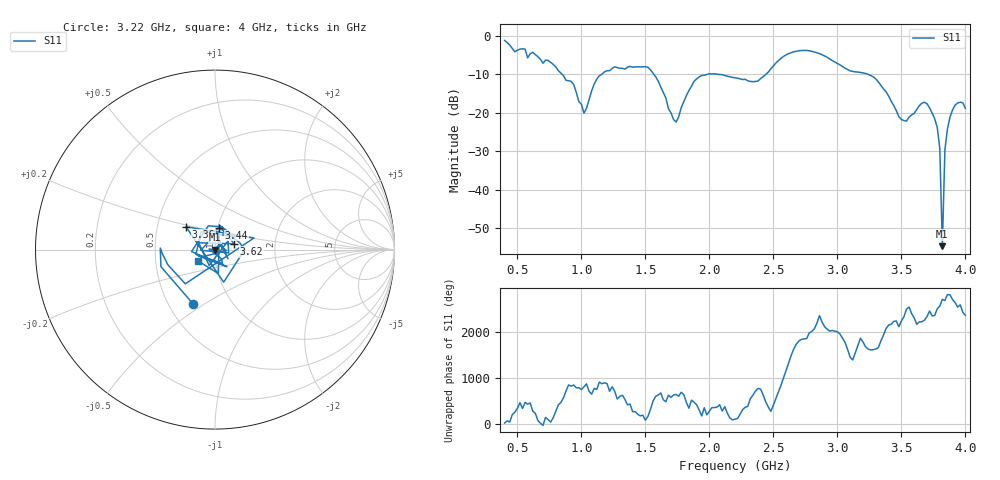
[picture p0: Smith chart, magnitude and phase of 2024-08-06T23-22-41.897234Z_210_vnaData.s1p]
!Created with skrf (http://scikit-rf.org).
# Hz S RI R 50.0
!freq ReS11 ImS11
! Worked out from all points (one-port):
!   181 points, 400 MHz to 4 GHz, reference 50 ohm
!   lowest |S11| = -54.6 dB at 3.82 GHz (marker M1), VSWR 1.00, Z = 49.8 - j0.0651 ohm
!   |S11| at or under -10 dB: 1.566 GHz to 1.984 GHz (418.1 MHz wide, 23.5 % of centre); 2.068 GHz to 2.441 GHz (373.3 MHz wide, 16.6 % of centre); 3.239 GHz to end of sweep (the widest 3 of 4)
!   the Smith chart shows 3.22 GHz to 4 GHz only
!   S11 on the Smith chart (normalised r, x): 3.22 GHz: 0.66, -0.45; 3.36 GHz: 0.70, +0.19; 3.44 GHz: 1.01, +0.25; 3.62 GHz: 1.23, +0.08; 4 GHz: 0.82, -0.10
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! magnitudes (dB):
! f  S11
! 400 MHz  -1.2
! 860 MHz  -10.3
! 940 MHz  -12.7
! 1.02 GHz  -20.1
! 1.14 GHz  -10.4
! 1.3 GHz  -8.4
! 1.52 GHz  -8.2
! 1.72 GHz  -21.7
! 1.76 GHz  -21.0
! 1.92 GHz  -10.7
! 2.2 GHz  -10.9
! 2.38 GHz  -11.7
! 2.66 GHz  -4.1
! 3.1 GHz  -9.1
! 3.22 GHz  -9.8
! 3.36 GHz  -13.7
! 3.44 GHz  -18.1
! 3.5 GHz  -21.7
! 3.56 GHz  -21.1
! 3.62 GHz  -19.1
! 3.7 GHz  -17.6
! 3.78 GHz  -23.8
! 3.8 GHz  -29.2
! 3.82 GHz  -54.6
! 3.84 GHz  -29.6
! 3.86 GHz  -24.1
! 3.92 GHz  -18.0
! 4 GHz  -18.8
